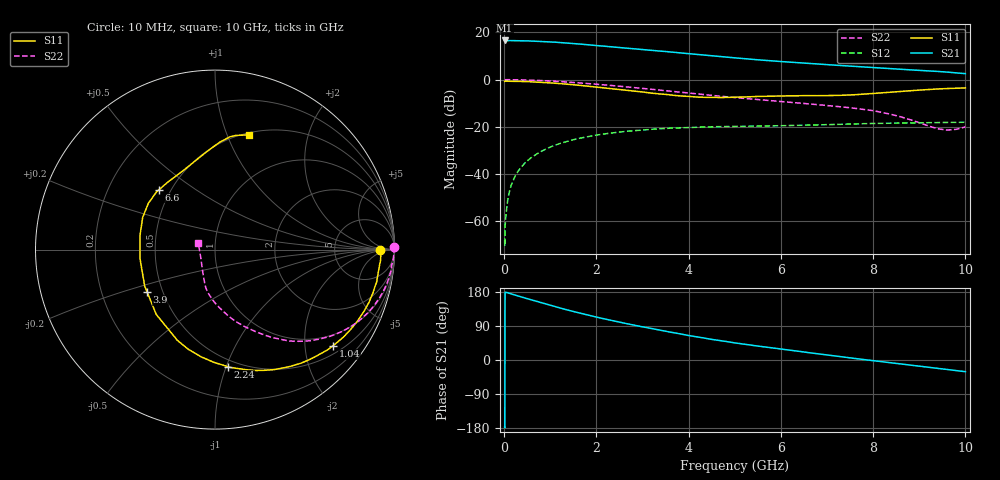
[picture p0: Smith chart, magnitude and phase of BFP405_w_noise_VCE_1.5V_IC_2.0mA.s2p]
! Infineon Technologies  Discrete & RF Semiconductors
! BFP405
! VCE =  1.5 V,  IC =  2.0 mA
! Common Emitter S-Parameters:  Jan 2016
# GHz  S  MA  R  50
!  f  S11  S21  S12  S22
! GHz  MAG  ANG  MAG  ANG  MAG  ANG  MAG  ANG
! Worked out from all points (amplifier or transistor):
!   233 points, 10 MHz to 10 GHz, reference 50 ohm
!   highest |S21| = 16.6 dB at 10 MHz (marker M1)
!   |S21| within 3 dB of that: start of sweep to 2.503 GHz
!   unconditionally stable (mu >= 1): 4.332 GHz to end of sweep
!   at 200 MHz: K = 0.03, MSG = 29.5 dB, |S12| = -42.5 dB
!   at 1.74 GHz: K = 0.32, MSG = 19.6 dB, |S12| = -24.4 dB
!   at 10 GHz: K = 1.71, MAG = 5.4 dB, |S12| = -18.0 dB
!   lowest NFmin = 0.86 dB at 900 MHz
!   S11 on the Smith chart (normalised r, x): 10 MHz: 24, -1; 1.04 GHz: 0.70, -2.65; 2.24 GHz: 0.44, -1.01; 3.9 GHz: 0.41, -0.24; 6.6 GHz: 0.43, +0.36; 10 GHz: 0.52, +1.20
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0.01  0.9203 -0.2  6.727 -177.1  0.0004 -62.2  1 0.7
0.015  0.9233 -0.4  6.686 -179.0  0.0003 62.2  0.9964 0.4
0.02  0.9263 -0.6  6.652 179.0  0.0008 86.6  0.9929 0.1
0.08  0.9243 -3.0  6.666 177.1  0.0029 87.4  0.9961 -1.5
0.145  0.9208 -5.4  6.68 174.8  0.0055 87.6  0.9941 -3.0
0.24  0.9178 -8.9  6.687 171.3  0.0092 85.1  0.9865 -5.1
0.52  0.9049 -19.7  6.584 161.2  0.0198 79.7  0.9773 -10.7
0.8  0.8774 -30.3  6.423 151.2  0.0302 73.9  0.9551 -16.4
1.04  0.8476 -39.2  6.23 142.9  0.0388 68.9  0.9296 -21.1
1.38  0.797 -52.0  5.907 131.7  0.05 61.9  0.8863 -27.4
1.68  0.7481 -63.1  5.6 122.5  0.0587 56.2  0.8439 -32.6
2.24  0.6557 -83.8  5.018 106.7  0.0724 46.2  0.7625 -41.0
2.82  0.5718 -105.7  4.482 91.9  0.0836 37.2  0.6785 -48.9
3.4  0.4944 -127.9  3.993 78.2  0.0916 29.1  0.5954 -55.9
3.9  0.4459 -148.2  3.609 67.0  0.0964 23.0  0.5299 -61.7
4.5  0.4207 -173.1  3.198 54.4  0.1006 16.6  0.4626 -68.6
5.1  0.4265 166.7  2.828 43.5  0.1029 11.4  0.4087 -74.8
6.6  0.457 133.1  2.205 19.5  0.1091 2.6  0.3073 -88.4
6.8  0.4568 128.6  2.137 16.4  0.1102 1.5  0.2951 -90.2
8.4  0.5449 95.2  1.697 -7.6  0.1198 -8.2  0.183 -109.2
9.4  0.6336 82.5  1.488 -22.1  0.1235 -13.9  0.0912 -150.3
10  0.6669 73.5  1.336 -30.8  0.1254 -16.8  0.0998 159.2
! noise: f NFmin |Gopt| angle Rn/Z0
0.9  0.86  0.58  15  0.42
1.8  1.21  0.46  27  0.37
2.4  1.43  0.38  38  0.36
3  1.47  0.38  52  0.33
4  1.69  0.25  80  0.26
5  2.05  0.21  114  0.21
